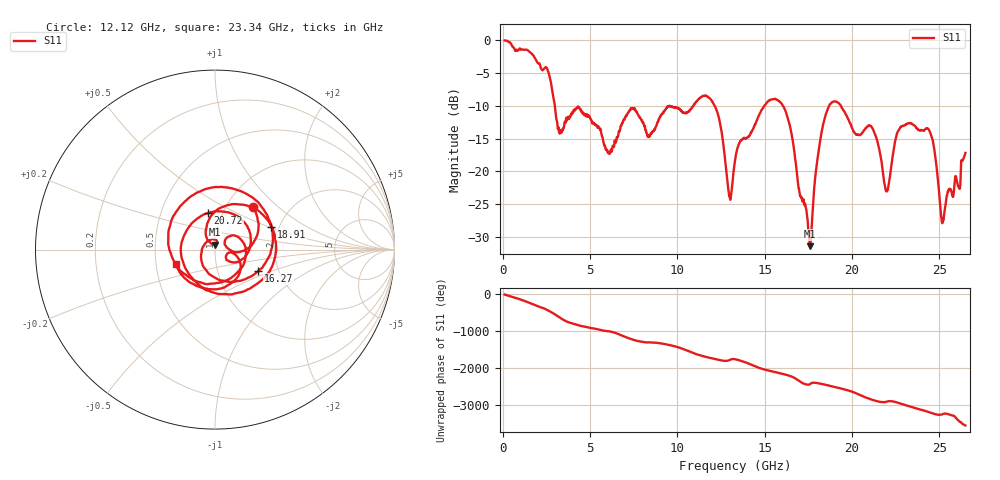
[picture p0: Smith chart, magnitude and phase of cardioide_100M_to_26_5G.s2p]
!Keysight Technologies,N5222B,MY60213399,A.14.00.23
!Date: Tuesday, February 27, 2024 20:30:07
!Correction: S11(C  1-Port  )
!S21(Off)
!S12(Off)
!S22(Off)
!S2P File: Measurement: :
# Hz S  dB  R 50
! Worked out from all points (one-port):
!   3201 points, 100 MHz to 26.5 GHz, reference 50 ohm
!   lowest |S11| = -31.4 dB at 17.6 GHz (marker M1), VSWR 1.06, Z = 50 + j2.69 ohm
!   |S11| at or under -10 dB: 2.978 GHz to 9.545 GHz (6.568 GHz wide, 105 % of centre); 12.13 GHz to 14.99 GHz (2.853 GHz wide, 21 % of centre); 19.37 GHz to end of sweep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
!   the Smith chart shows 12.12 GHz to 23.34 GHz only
!   S11 on the Smith chart (normalised r, x): 12.12 GHz: 1.32, +0.70; 16.27 GHz: 1.57, -0.40; 18.91 GHz: 1.82, +0.53; 20.72 GHz: 0.85, +0.36; 23.34 GHz: 0.63, -0.11
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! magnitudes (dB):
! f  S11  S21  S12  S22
! 100 MHz  0.0  -  -  -
! 2.534 GHz  -4.3  -  -  -
! 3.268 GHz  -14.2  -  -  -
! 4.505 GHz  -10.9  -  -  -
! 6.114 GHz  -17.2  -  -  -
! 7.352 GHz  -10.4  -  -  -
! 8.903 GHz  -12.3  -  -  -
! 12.12 GHz  -9.9  -  -  -
! 12.98 GHz  -23.7  -  -  -
! 13.3 GHz  -18.4  -  -  -
! 15.18 GHz  -9.3  -  -  -
! 16.27 GHz  -11.4  -  -  -
! 17.6 GHz  -31.4  -  -  -
! 17.71 GHz  -27.8  -  -  -
! 18.23 GHz  -14.4  -  -  -
! 18.91 GHz  -9.4  -  -  -
! 20.72 GHz  -13.7  -  -  -
! 22.1 GHz  -22.1  -  -  -
! 23.34 GHz  -12.7  -  -  -
! 24.53 GHz  -14.4  -  -  -
! 25.19 GHz  -27.8  -  -  -
! 26.5 GHz  -17.2  -  -  -
